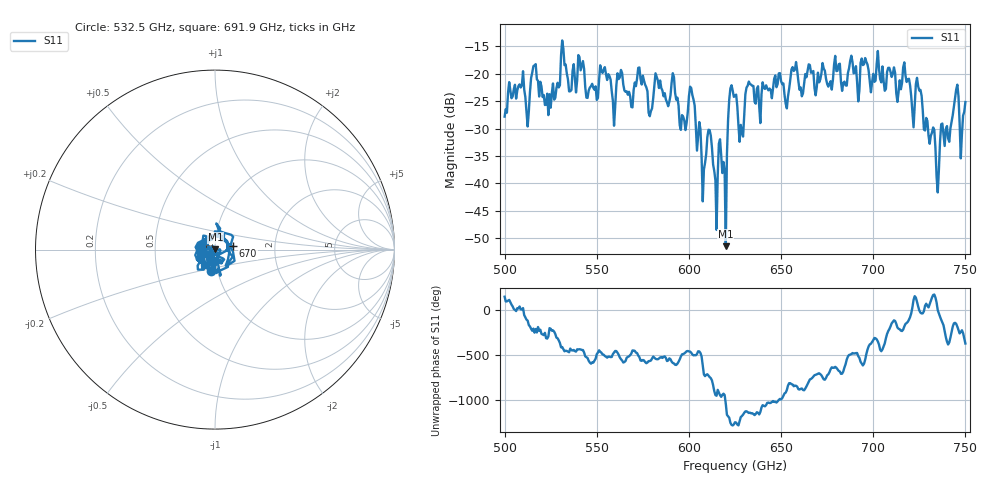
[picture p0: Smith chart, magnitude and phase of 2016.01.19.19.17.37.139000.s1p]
!Created with skrf (http://scikit-rf.org).
# GHz S RI R 50.0
!freq ReS11 ImS11
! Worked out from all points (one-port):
!   401 points, 500 GHz to 750 GHz, reference 50 ohm
!   lowest |S11| = -51.4 dB at 620 GHz (marker M1), VSWR 1.01, Z = 50.2 + j0.161 ohm
!   |S11| at or under -10 dB: start of sweep to end of sweep
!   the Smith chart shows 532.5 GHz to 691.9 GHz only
!   S11 on the Smith chart (normalised r, x): 532.5 GHz: 0.93, -0.22; 670 GHz: 1.22, +0.05; 691.9 GHz: 0.90, -0.04
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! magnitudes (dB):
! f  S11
! 500 GHz  -27.8
! 508.8 GHz  -22.5
! 512.5 GHz  -29.6
! 515.6 GHz  -18.6
! 523.8 GHz  -27.5
! 531.2 GHz  -13.9
! 532.5 GHz  -18.4
! 559.4 GHz  -29.5
! 562.5 GHz  -20.6
! 593.8 GHz  -24.3
! 601.2 GHz  -22.6
! 608.1 GHz  -37.5
! 611.2 GHz  -30.3
! 614.4 GHz  -39.4
! 620 GHz  -51.4
! 622.5 GHz  -22.6
! 625 GHz  -24.0
! 628.1 GHz  -29.3
! 632.5 GHz  -21.4
! 656.2 GHz  -18.8
! 670 GHz  -19.8
! 687.5 GHz  -17.6
! 691.9 GHz  -25.0
! 718.8 GHz  -21.0
! 735 GHz  -41.6
! 745 GHz  -22.9
! 748.1 GHz  -31.0
! 750 GHz  -25.1
